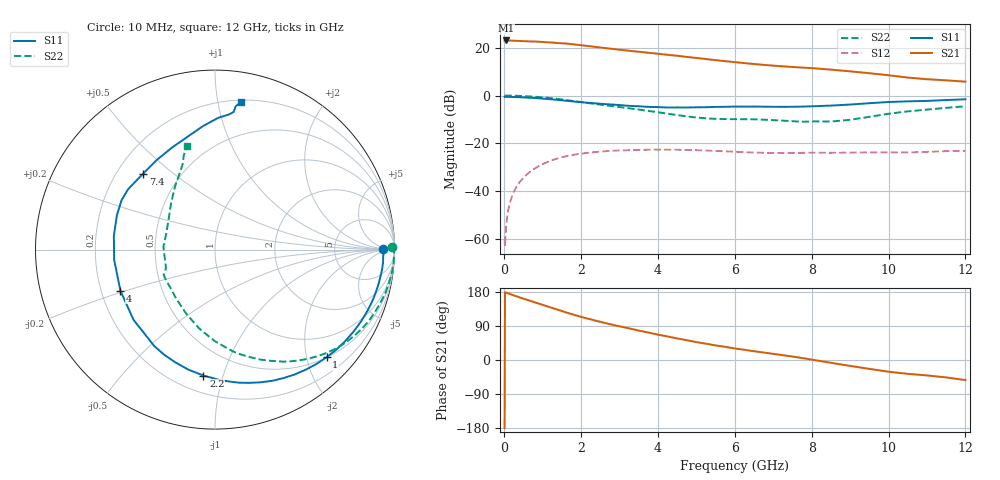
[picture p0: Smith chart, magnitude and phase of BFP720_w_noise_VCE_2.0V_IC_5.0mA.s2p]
! Infineon Technologies  Discrete & RF Semiconductors
! BFP720
! VCE =  2.0 V,  IC =  5.0 mA
! Common Emitter S-Parameters:  Aug 2012
# GHz  S  MA  R  50
!  f  S11  S21  S12  S22
! GHz  MAG  ANG  MAG  ANG  MAG  ANG  MAG  ANG
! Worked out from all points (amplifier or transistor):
!   105 points, 10 MHz to 12 GHz, reference 50 ohm
!   highest |S21| = 23.1 dB at 50 MHz (marker M1)
!   |S21| within 3 dB of that: start of sweep to 2.527 GHz
!   unconditionally stable (mu >= 1): 6.622 GHz to 11.59 GHz
!   at 300 MHz: K = 0.04, MSG = 30.9 dB, |S12| = -38.8 dB
!   at 3.6 GHz: K = 0.48, MSG = 20.5 dB, |S12| = -22.7 dB
!   at 12 GHz: K = 0.86, MSG = 14.5 dB, |S12| = -23.1 dB
!   lowest NFmin = 0.39 dB at 450 MHz
!   S11 on the Smith chart (normalised r, x): 10 MHz: 31, +2; 1 GHz: 0.50, -2.38; 2.2 GHz: 0.31, -0.86; 4 GHz: 0.28, -0.19; 7.4 GHz: 0.31, +0.40; 12 GHz: 0.21, +1.17
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0.01  0.9372 0.3  14.18 -179.9  0.001 45.6  0.9841 0.8
0.02  0.9411 -0.8  14.1 178.7  0.0007 98.6  0.998 -0.5
0.05  0.9378 -2.2  14.29 177.7  0.0018 91.0  0.9971 -1.5
0.14  0.9377 -6.1  14.23 174.5  0.0054 86.4  0.9973 -4.3
0.3  0.9296 -13.0  14.04 168.7  0.0115 82.2  0.9899 -9.2
0.8  0.8868 -35.1  13.59 152.0  0.0299 68.4  0.9452 -24.7
1  0.864 -44.0  13.29 145.5  0.0367 62.9  0.9172 -30.8
1.6  0.7809 -71.3  12.33 125.8  0.0532 47.0  0.8087 -48.2
2.1  0.7145 -91.5  11.11 111.2  0.0622 35.6  0.7125 -60.8
2.2  0.7045 -95.3  10.88 108.4  0.0636 33.5  0.6947 -63.2
2.6  0.6661 -109.3  9.963 98.2  0.068 26.2  0.6311 -71.8
3  0.6342 -122.5  9.153 88.8  0.0709 19.7  0.576 -80.0
3.5  0.5993 -139.3  8.301 77.5  0.073 12.6  0.5101 -90.1
4  0.5746 -156.6  7.53 66.9  0.0737 6.3  0.4484 -101.3
4.1  0.5684 -160.0  7.371 65.1  0.0736 5.2  0.4353 -103.6
5  0.5688 172.2  6.146 47.1  0.0718 -4.2  0.3476 -128.6
6.1  0.5884 150.8  4.925 29.1  0.0661 -11.0  0.3204 -150.4
7.4  0.5825 133.4  4.026 10.6  0.0628 -12.1  0.2943 -158.8
8.5  0.6173 112.7  3.499 -7.4  0.0633 -14.7  0.2858 161.7
9.5  0.6918 95.5  2.946 -23.4  0.0647 -16.5  0.3585 132.9
10.5  0.7571 84.1  2.385 -36.5  0.0645 -18.4  0.4666 115.1
12  0.8361 79.9  1.956 -52.9  0.0697 -22.3  0.5964 105.4
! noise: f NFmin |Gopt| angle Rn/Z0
0.45  0.39  0.49  4  0.18
1.8  0.49  0.47  25  0.14
2.4  0.53  0.34  60  0.19
5.5  0.68  0.22  65  0.13
10  0.97  0.4  -93  0.22
